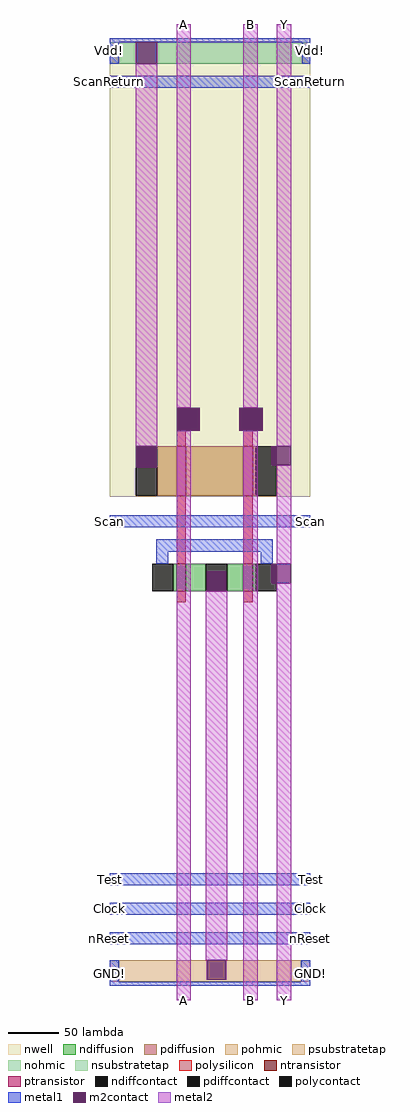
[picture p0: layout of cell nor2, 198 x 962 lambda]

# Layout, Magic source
magic
tech tsmc180
<< nwell >>
rect 0 496 198 948
<< polysilicon >>
rect 66 546 75 561
rect 132 546 141 561
rect 66 430 75 497
rect 132 430 141 497
rect 66 392 75 403
rect 132 392 141 403
<< ndiffusion >>
rect 63 403 66 430
rect 75 403 95 430
rect 116 403 132 430
rect 141 403 144 430
<< pdiffusion >>
rect 47 497 66 546
rect 75 497 132 546
rect 141 497 144 546
<< pohmic >>
rect 0 18 9 39
rect 189 18 198 39
<< nohmic >>
rect 0 923 9 944
rect 190 923 198 944
<< ntransistor >>
rect 66 403 75 430
rect 132 403 141 430
<< ptransistor >>
rect 66 497 75 546
rect 132 497 141 546
<< polycontact >>
rect 66 561 89 584
rect 128 561 151 584
<< ndiffcontact >>
rect 42 403 63 430
rect 95 403 116 430
rect 144 403 165 430
<< pdiffcontact >>
rect 26 497 47 546
rect 144 497 165 546
<< psubstratetap >>
rect 9 18 189 39
<< nsubstratetap >>
rect 9 923 190 944
<< metal1 >>
rect 0 944 198 948
rect 0 923 9 944
rect 190 923 198 944
rect 0 899 198 911
rect 0 466 198 478
rect 46 442 161 454
rect 46 430 58 442
rect 149 430 161 442
rect 0 113 198 125
rect 0 84 198 96
rect 0 55 198 67
rect 0 18 9 39
rect 189 18 198 39
rect 0 14 198 18
<< m2contact >>
rect 26 923 47 944
rect 66 561 89 584
rect 128 561 151 584
rect 26 525 47 546
rect 160 527 165 546
rect 165 527 179 546
rect 96 403 115 422
rect 160 411 165 430
rect 165 411 179 430
rect 96 20 115 39
<< metal2 >>
rect 26 546 47 923
rect 66 584 80 962
rect 132 584 146 962
rect 66 0 80 561
rect 95 39 116 403
rect 132 0 146 561
rect 165 546 179 962
rect 165 430 179 527
rect 165 0 179 411
<< labels >>
rlabel metal1 0 923 0 948 3 Vdd!
rlabel metal1 0 14 0 39 3 GND!
rlabel metal1 0 899 0 911 3 ScanReturn
rlabel metal1 0 466 0 478 3 Scan
rlabel metal1 0 113 0 125 3 Test
rlabel metal1 0 84 0 96 3 Clock
rlabel metal1 0 55 0 67 3 nReset
rlabel metal1 198 923 198 948 7 Vdd!
rlabel metal1 198 14 198 39 7 GND!
rlabel metal1 198 55 198 67 7 nReset
rlabel metal1 198 84 198 96 7 Clock
rlabel metal1 198 113 198 125 7 Test
rlabel metal1 198 466 198 478 7 Scan
rlabel metal1 198 899 198 911 7 ScanReturn
rlabel metal2 66 962 80 962 5 A
rlabel metal2 165 962 179 962 5 Y
rlabel metal2 132 962 146 962 5 B
rlabel metal2 66 0 80 0 1 A
rlabel metal2 165 0 179 0 1 Y
rlabel metal2 132 0 146 0 1 B
<< end >>
